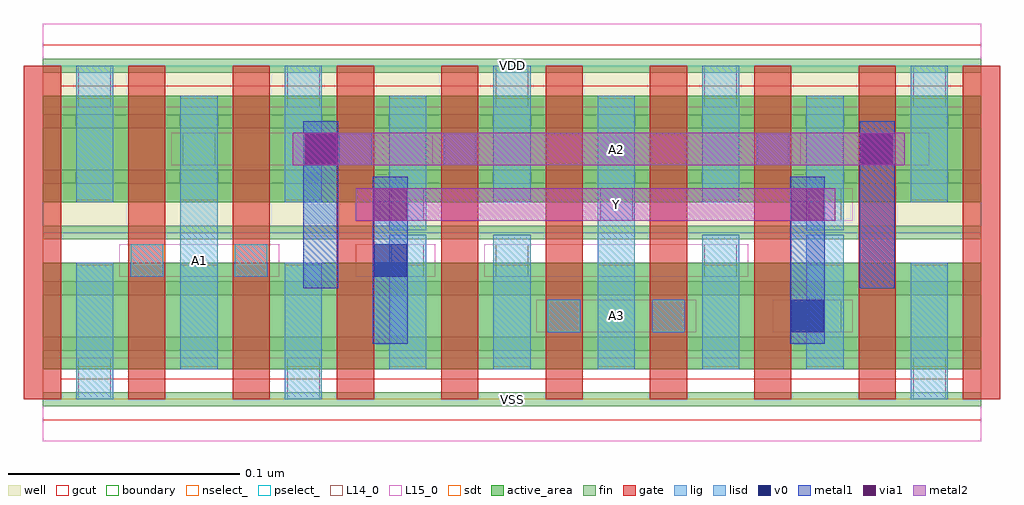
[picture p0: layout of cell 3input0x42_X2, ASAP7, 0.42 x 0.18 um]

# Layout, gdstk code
import gdstk
lib = gdstk.Library(unit=1e-6, precision=2.5e-10)
def R(c, l, rs):  # rectangles x0, y0, x1, y1
    for r in rs: c.add(gdstk.rectangle(r[:2], r[2:], *l))
def A(c, l, x, y, w, h, nx, ny, dx, dy):  # array of equal rectangles
    R(c, l, [(x+i*dx, y+j*dy, x+i*dx+w, y+j*dy+h) for i in range(nx) for j in range(ny)])
def P(c, l, *ps):  # polygons
    for p in ps: c.add(gdstk.Polygon(p, *l))
well = (1, 0)
fin = (2, 0)
gate = (7, 0)
gcut = (10, 0)
active_area = (11, 0)
nselect_ = (12, 0)
pselect_ = (13, 0)
L14_0 = (14, 0)
L15_0 = (15, 0)
lig = (16, 0)
lisd = (17, 0)
v0 = (18, 0)
metal1 = (19, 0)
metal2 = (20, 0)
via1 = (21, 0)
sdt = (88, 0)
boundary = (100, 0)

c_3input0x42_x2 = lib.new_cell('3input0x42_X2')
R(c_3input0x42_x2, well, [(0,0.072,0.405,0.144)])
A(c_3input0x42_x2, fin, 0, -0.003, 0.405, 0.006, 1, 7, 0, 0.024)
A(c_3input0x42_x2, gate, -0.008, 0, 0.016, 0.144, 10, 1, 0.045, 0)
P(c_3input0x42_x2, gcut, [(0,-0.009),(0,0),(-0.008,0),(-0.008,0.135),(0.008,0.135),(0.008,0.009),(0.397,0.009),(0.397,0.135),(-0.008,0.135),(-0.008,0.144),(0,0.144),(0,0.153),(0.405,0.153),(0.405,0.144),(0.413,0.144),(0.413,0),(0.405,0),(0.405,-0.009)])
R(c_3input0x42_x2, active_area, [(0,0.013,0.405,0.059), (0,0.085,0.405,0.131)])
R(c_3input0x42_x2, nselect_, [(0,0,0.405,0.072)])
R(c_3input0x42_x2, pselect_, [(0,0.072,0.405,0.144)])
A(c_3input0x42_x2, L14_0, 0.1505, 0.077, 0.014, 0.014, 3, 1, 0.09, 0)
A(c_3input0x42_x2, L14_0, 0.0155, 0.126, 0.014, 0.018, 5, 1, 0.09, 0)
R(c_3input0x42_x2, L14_0, [(0.0155,0,0.0295,0.018), (0.1055,0,0.1195,0.018), (0.3755,0,0.3895,0.018), (0.218,0.029,0.232,0.043), (0.263,0.029,0.277,0.043), (0.3305,0.029,0.3445,0.043), (0.038,0.053,0.052,0.067), (0.083,0.053,0.097,0.067), (0.1505,0.053,0.1645,0.067), (0.1955,0.053,0.2095,0.067), (0.2855,0.053,0.2995,0.067), (0.0605,0.101,0.0745,0.115), (0.128,0.101,0.142,0.115), (0.173,0.101,0.187,0.115), (0.308,0.101,0.322,0.115), (0.353,0.101,0.367,0.115)])
R(c_3input0x42_x2, L15_0, [(0,-0.018,0.405,0.018), (0.213,0.029,0.282,0.043), (0.315,0.029,0.3495,0.043), (0.033,0.053,0.102,0.067), (0.135,0.053,0.1695,0.067), (0.1905,0.053,0.3045,0.067), (0.1455,0.077,0.3495,0.091), (0.0555,0.101,0.147,0.115), (0.168,0.101,0.327,0.115), (0.345,0.101,0.3825,0.115), (0,0.126,0.405,0.162)])
R(c_3input0x42_x2, lig, [(0.218,0.029,0.232,0.043), (0.263,0.029,0.277,0.043), (0.038,0.053,0.052,0.067), (0.083,0.053,0.097,0.067), (0.128,0.101,0.142,0.115), (0.173,0.101,0.187,0.115), (0.308,0.101,0.322,0.115), (0.353,0.101,0.367,0.115)])
A(c_3input0x42_x2, lisd, 0.0145, 0.085, 0.016, 0.059, 5, 1, 0.09, 0)
R(c_3input0x42_x2, lisd, [(0.0145,0,0.0305,0.059), (0.1045,0,0.1205,0.059), (0.3745,0,0.3905,0.059), (0.0595,0.013,0.0755,0.131), (0.1495,0.013,0.1655,0.071), (0.1945,0.013,0.2105,0.071), (0.2395,0.013,0.2555,0.131), (0.2845,0.013,0.3005,0.071), (0.3295,0.013,0.3455,0.071), (0.1495,0.073,0.1655,0.131), (0.3295,0.073,0.3455,0.131)])
R(c_3input0x42_x2, v0, [(0.323,0.029,0.337,0.043), (0.143,0.053,0.157,0.067), (0.113,0.101,0.127,0.115), (0.353,0.101,0.367,0.115)])
R(c_3input0x42_x2, metal1, [(0.1425,0.024,0.1575,0.096), (0.3225,0.024,0.3375,0.096), (0.1125,0.048,0.1275,0.12), (0.3525,0.048,0.3675,0.12)])
R(c_3input0x42_x2, metal2, [(0.135,0.077,0.342,0.091), (0.108,0.101,0.372,0.115)])
R(c_3input0x42_x2, via1, [(0.143,0.077,0.157,0.091), (0.323,0.077,0.337,0.091), (0.113,0.101,0.127,0.115), (0.353,0.101,0.367,0.115)])
A(c_3input0x42_x2, sdt, 0.0145, 0.014, 0.016, 0.044, 9, 2, 0.045, 0.072)
R(c_3input0x42_x2, boundary, [(0,0,0.405,0.144)])
c_3input0x42_x2.add(gdstk.Label('A1', (0.0675,0.06), layer=15, texttype=251))
c_3input0x42_x2.add(gdstk.Label('VSS', (0.2025,0), layer=15, texttype=251))
c_3input0x42_x2.add(gdstk.Label('VDD', (0.2025,0.144), layer=15, texttype=251))
c_3input0x42_x2.add(gdstk.Label('A3', (0.2475,0.036), layer=15, texttype=251))
c_3input0x42_x2.add(gdstk.Label('VSS', (0.2025,0), layer=15, texttype=251))
c_3input0x42_x2.add(gdstk.Label('VDD', (0.2025,0.144), layer=15, texttype=251))
c_3input0x42_x2.add(gdstk.Label('A2', (0.2475,0.108), layer=15, texttype=251))
c_3input0x42_x2.add(gdstk.Label('VSS', (0.2025,0), layer=15, texttype=251))
c_3input0x42_x2.add(gdstk.Label('VDD', (0.2025,0.144), layer=15, texttype=251))
c_3input0x42_x2.add(gdstk.Label('Y', (0.2475,0.084), layer=15, texttype=251))
c_3input0x42_x2.add(gdstk.Label('VSS', (0.2025,0), layer=15, texttype=251))
c_3input0x42_x2.add(gdstk.Label('VDD', (0.2025,0.144), layer=15, texttype=251))
c_3input0x42_x2.add(gdstk.Label('VSS', (0.2025,0), layer=3, texttype=251))
c_3input0x42_x2.add(gdstk.Label('VSS', (0.2025,0), layer=3, texttype=251))
c_3input0x42_x2.add(gdstk.Label('VSS', (0.2025,0), layer=3, texttype=251))
c_3input0x42_x2.add(gdstk.Label('VSS', (0.2025,0), layer=3, texttype=251))
c_3input0x42_x2.add(gdstk.Label('VDD', (0.2025,0.144), layer=1, texttype=251))
c_3input0x42_x2.add(gdstk.Label('VDD', (0.2025,0.144), layer=1, texttype=251))
c_3input0x42_x2.add(gdstk.Label('VDD', (0.2025,0.144), layer=1, texttype=251))
c_3input0x42_x2.add(gdstk.Label('VDD', (0.2025,0.144), layer=1, texttype=251))

lib.write_gds('3input0x42_X2.gds')
